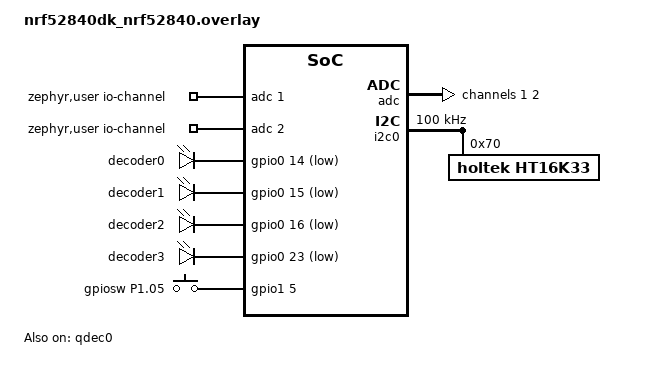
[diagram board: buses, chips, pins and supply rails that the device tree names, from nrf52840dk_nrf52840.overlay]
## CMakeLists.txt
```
cmake_minimum_required(VERSION 3.20.0)
find_package(Zephyr REQUIRED HINTS $ENV{ZEPHYR_BASE})

project(snake)

FILE(GLOB app_sources src/*.c)
target_sources(app PRIVATE ${app_sources})
```

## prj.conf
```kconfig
CONFIG_PWM=y
CONFIG_GPIO=y
CONFIG_ADC=y
# CONFIG_ADC_ASYNC=y
CONFIG_SENSOR=y
CONFIG_PRINTK=y
CONFIG_LOG=y
CONFIG_I2C=y
CONFIG_LED=y
CONFIG_KSCAN=y
CONFIG_KSCAN_INIT_PRIORITY=95
CONFIG_HT16K33_KEYSCAN=y

CONFIG_MAIN_STACK_SIZE=1024
CONFIG_SYSTEM_WORKQUEUE_STACK_SIZE=1024
CONFIG_THREAD_STACK_INFO=y
CONFIG_THREAD_NAME=y
```

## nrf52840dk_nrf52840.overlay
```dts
/ {
    aliases {
        dec0 = &decoder0;
        dec1 = &decoder1;
        dec2 = &decoder2;
        dec3 = &decoder3;
		gpio-sw = &gpiosw;
		qdec0 = &qdec0;
    };
	zephyr,user {
		io-channels = <&adc 1>, <&adc 2>;
	};
    seven_seg {
        compatible = "gpio-leds";
        decoder0: decoder_0{
            gpios = <&gpio0 14 GPIO_ACTIVE_LOW>;
        };
        decoder1: decoder_1{
            gpios = <&gpio0 15 GPIO_ACTIVE_LOW>;
        };
        decoder2: decoder_2{
            gpios = <&gpio0 16 GPIO_ACTIVE_LOW>;
        };
        decoder3: decoder_3{
            gpios = <&gpio0 23 GPIO_ACTIVE_LOW>;
        };
    };

	gpiocustom{
		status = "okay";
		compatible = "gpio-keys";
		gpiosw: gpiosw {
			gpios = <&gpio1 5 (GPIO_PULL_UP)>;
			label = "gpiosw P1.05";
		};
	};

};

&pinctrl {
	qdec_pinctrl: qdec_pinctrl {
		group1 {
			psels = <NRF_PSEL(QDEC_A, 1, 4)>,   /* Arduino D3 */
				<NRF_PSEL(QDEC_B, 1, 3)>;   /* Arduino D2 */
		};
	};
};

&qdec0 {
	status = "okay";
	pinctrl-0 = <&qdec_pinctrl>;
	pinctrl-names = "default";
	steps = < 20 >;
	led-pre = < 500 >;
};

&adc {
	#address-cells = <1>;
	#size-cells = <0>;

	channel@1 {
		reg = <1>;
		zephyr,gain = "ADC_GAIN_1";
		zephyr,reference = "ADC_REF_INTERNAL";
		zephyr,acquisition-time = <ADC_ACQ_TIME_DEFAULT>;
		zephyr,input-positive = <NRF_SAADC_AIN1>; /* P0.03 */
		zephyr,resolution = <10>;
		// zephyr,differential;
	};

	channel@2 {
		reg = <2>;
		zephyr,gain = "ADC_GAIN_1";
		zephyr,reference = "ADC_REF_INTERNAL";
		zephyr,acquisition-time = <ADC_ACQ_TIME_DEFAULT>;
		zephyr,input-positive = <NRF_SAADC_AIN2>; /* P0.04 */
		zephyr,resolution = <10>;
		// zephyr,differential;
	};
};


&i2c0 {
	clock-frequency = <I2C_BITRATE_STANDARD>;

	ht16k33@70 {
		compatible = "holtek,ht16k33";
		reg = <0x70>;
                /* Uncomment to use IRQ instead of polling: */
		/* irq-gpios = <&gpio1 8 (GPIO_PULL_UP | GPIO_ACTIVE_LOW)>; */

		keyscan {
			compatible = "holtek,ht16k33-keyscan";
		};
	};
};
```

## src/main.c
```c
/*
 * MIT License
 *
 * Copyright (c) 2024 Garyun Kim, Jinju Lee
 *
 * Permission is hereby granted, free of charge, to any person obtaining a copy
 * of this software and associated documentation files (the "Software"), to deal
 * in the Software without restriction, including without limitation the rights
 * to use, copy, modify, merge, publish, distribute, sublicense, and/or sell
 * copies of the Software, and to permit persons to whom the Software is
 * furnished to do so, subject to the following conditions:
 *
 * The above copyright notice and this permission notice shall be included in all
 * copies or substantial portions of the Software.
 *
 * THE SOFTWARE IS PROVIDED "AS IS", WITHOUT WARRANTY OF ANY KIND, EXPRESS OR
 * IMPLIED, INCLUDING BUT NOT LIMITED TO THE WARRANTIES OF MERCHANTABILITY,
 * FITNESS FOR A PARTICULAR PURPOSE AND NONINFRINGEMENT. IN NO EVENT SHALL THE
 * AUTHORS OR COPYRIGHT HOLDERS BE LIABLE FOR ANY CLAIM, DAMAGES OR OTHER
 * LIABILITY, WHETHER IN AN ACTION OF CONTRACT, TORT OR OTHERWISE, ARISING FROM,
 * OUT OF OR IN CONNECTION WITH THE SOFTWARE OR THE USE OR OTHER DEALINGS IN THE
 * SOFTWARE.
 */

#include <zephyr/kernel.h>
#include <inttypes.h>
#include <stddef.h>
#include <stdint.h>

#include <zephyr/drivers/sensor.h>
#include <zephyr/device.h>
#include <zephyr/devicetree.h>
#include <zephyr/drivers/adc.h>
#include <zephyr/kernel.h>
#include <zephyr/sys/printk.h>
#include <zephyr/sys/util.h>

#include "gpios.h"
#include "led.h"

#if !DT_NODE_EXISTS(DT_PATH(zephyr_user)) || \
	!DT_NODE_HAS_PROP(DT_PATH(zephyr_user), io_channels)
#error "No suitable devicetree overlay specified"
#endif

#define DT_SPEC_AND_COMMA(node_id, prop, idx) \
	ADC_DT_SPEC_GET_BY_IDX(node_id, idx),

/* Data of ADC io-channels specified in devicetree. */
static const struct adc_dt_spec adc_channels[] = {
	DT_FOREACH_PROP_ELEM(DT_PATH(zephyr_user), io_channels,
			     DT_SPEC_AND_COMMA)
};

// add for joystick
int32_t preX = 0 , perY = 0;
static const int ADC_MAX = 1023;
// static const int ADC_MIN = 0;
static const int AXIS_DEVIATION = ADC_MAX / 2;
int32_t nowX = 0;
int32_t nowY = 0;

//TODO sholud be replaced with Joystick event!
#define LEFT 0
#define RIGHT 1
#define UP 2
#define DOWN 3
//TODO ==============================================

// thread stack size
#define STACK_SIZE 1024

// thread priority
#define PRIORITY 7

// thread stack memory allocation
K_THREAD_STACK_DEFINE(thread_stack_area, STACK_SIZE);
struct k_thread my_thread_data;

K_THREAD_STACK_DEFINE(thread_stack_area2, STACK_SIZE);
struct k_thread my_thread_data2;
//map size setted by display size
#define MAP_WIDTH 16
#define MAP_HEIGHT 8
//for map state
// #define EMPTY 0
#define SNAKE 1
#define APPLE 2
//for game mode

//initial values
#define INIT_LENGTH 3
#define INIT_SPEED 200
//for BGM
#define NOTE_CNT 3

int map[MAP_HEIGHT*MAP_WIDTH]; //whole map state. 0: empty / 1: snake / 2: apple
int x[128], y[128]; //save the position of snake
int apple_x, apple_y; //save the position of apple
int length = INIT_LENGTH; //current length of snake. can be changed by scoring
int speed = INIT_SPEED; //current speed of game. can be changed by rotary encoder event
extern int speed_delta;
int dir = LEFT; //current direction of snake. can be changed by joystick event

//for game logic
int idx(int x, int y);
void move(int dir); 
void create_apple(); 
//for button interrupt
void play_routine();  
void score_routine();
bool isChange(void);
void sensing();

int mode = SCORE;
int pause_flag = 0;
int mute_flag = 0;
extern int apple_on;
extern int current_music;
extern int* melody[];
extern int melody_len[];
extern const struct device *const dev;
int change_note_flag= 0;

// ========INTERRUPT FUNCS============================


//change BGM
void btn4_pushed(){
//    note_type = (note_type+1)%NOTE_CNT; 
   change_note_flag = 1;
}

//TODO change speed
void rotary_encoder_moved(){
    int s = /*value*/ 100;
    if(s < 0) speed = 1000; //minimum speed
    if(s > 99999 /*borderline*/) speed = 10; //maximum speed 
}

//=======================================================

void play_music_routine(){
    uint32_t now_pwm_pulse = 150000;
    current_music = 2;
    seven_segment(current_music);
    while(1){
        change_note_flag = 0;
        for(int i=0; i<melody_len[current_music]/sizeof(int); ){
            while(mute_flag == 1){
                k_sleep(K_MSEC(100));
            }
            if(change_note_flag == 1){
                current_music = (current_music+1)%6;
                if(current_music < 2) current_music = 2;
                seven_segment(current_music);
                break;
            }
            int ret = pwm_set_dt(&pwm_led, (uint32_t)(1/(float)melody[current_music][i++] * 1000000000), now_pwm_pulse);
            if(ret < 0){
            printk("Error setting pwm pulse %d\n", ret);
            }
            int delay = (60000 * 32);
            if(melody[current_music][i] < 0){
                k_busy_wait(delay /(-1 * melody[current_music][i++])* 1.5);
            }
            else{
                k_busy_wait(delay / melody[current_music][i++]);
            }
            ret = pwm_set_dt(&pwm_led, 1, 1);
            k_busy_wait(1000);
            // printk("index:%d\n",i/2);
        }
    }
    
    return;
}

// play the snake game
void play_routine(){
    mode = PLAY;
    printk("i am play routine\n");

    //init map state
    for(int i = 0; i < MAP_WIDTH*MAP_HEIGHT; i++) map[i] = 0;

    //reset values
    dir = LEFT; 
    length = INIT_LENGTH;  

    //set initial body position
    for(int i = 0; i < length; i++){  
        x[i]=MAP_WIDTH/2+i;
        y[i]=MAP_HEIGHT/2;
        map[idx(x[i], y[i])] = 1;
    }map[idx(x[0], y[0])] = 1;

    //create new apple
    create_apple();

    //start playing
    while(1){

        if(pause_flag == 0) move(dir); 
        k_sleep(K_MSEC(speed));

        if(mode == SCORE) break;

    }//while
    score_routine();
}

//display the last score
void score_routine(){  
    mode = SCORE;
    printk("i am score routine\n");
    led_num(length-INIT_LENGTH);
    while(1){
        // printk("Hello hello\n");
        k_sleep(K_MSEC(100));
        if(mode == PLAY) break; 
    }
    play_routine();
    // k_sleep(K_MSEC(5000));
    // btn1_pushed();
    //TODO ===================================================
}

//move using dir 
void move(int dir){
    int i;

    //eat apple case
    if(x[0] == apple_x && y[0] == apple_y){  
        create_apple();  
        length++;  
        x[length-1] = x[length-2];  
        y[length-1] = y[length-2];
    }
    //blocked by wall case
    if(x[0] == 0 || x[0] == MAP_WIDTH-1 || y[0]==0 || y[0] == MAP_HEIGHT-1){  
        score_routine();
        return;  
    }
    //blocked by body case
    for(i = 1; i < length; i++){  
        if(x[0] == x[i] && y[0] == y[i]){
            score_routine();
            return;
        }
    }

    //erase last tail
    map[idx(x[length-1], y[length-1])] = 0;
    for(i = length-1; i > 0; i--){  
        x[i] = x[i-1];
        y[i] = y[i-1];
    }
    //draw new snake
    map[idx(x[0], y[0])] = 1;
    if(dir == LEFT) --x[0];  
    if(dir == RIGHT) ++x[0];
    if(dir == UP) --y[0]; 
    if(dir == DOWN) ++y[0];     
    map[idx(x[i], y[i])] = 1;
    print_map(map); 

}

//create new apple
void create_apple(){
    int i;
    int dup_flag =0; 

    while(1){            
        //select next apple place
        apple_x = (rand() % (MAP_WIDTH-2)) + 1;     
        apple_y = (rand() % (MAP_HEIGHT-2)) + 1;
        
        dup_flag = 0;    
        for(i = 0; i < length; i++){   
            if(apple_x == x[i] && apple_y == y[i]){
                dup_flag = 1;  
                break;
            }
        }
        if(dup_flag == 1) continue; 

        //draw apple DROP     
        map[idx(apple_x, apple_y)] = 2;
        break;
        
    }
}

//calculate index for map using 
int idx(int x, int y){ 
    return (( y * 16 ) + x); 
}


bool isChange(void)
{
	if((nowX < (preX - 50)) || nowX > (preX+50)){
		preX = nowX;
		return true;
	}

	if((nowY < (perY - 50)) || nowY > (perY+50)){
		perY = nowY;
		return true;
	}
	return false;
}
//endif
void sensing() {
	int err;
	uint32_t count = 0;
	uint16_t buf;
	struct adc_sequence sequence = {
		.buffer = &buf,
		/* buffer size in bytes, not number of samples */
		.buffer_size = sizeof(buf),
	};

	/* Configure channels individually prior to sampling. */
	for (size_t i = 0U; i < ARRAY_SIZE(adc_channels); i++) {
		if (!adc_is_ready_dt(&adc_channels[i])) {
			printk("ADC controller device %s not ready\n", adc_channels[i].dev->name);
			return;
		}
		err = adc_channel_setup_dt(&adc_channels[i]);
		if (err < 0) {
			printk("Could not setup channel #%d (%d)\n", i, err);
			return;
		}
	}

    struct sensor_value val;
	while (1) {
        int rc = sensor_sample_fetch(dev);
		if (rc != 0) {
			printk("Failed to fetch sample (%d)\n", rc);
			return 0;
		}

		rc = sensor_channel_get(dev, SENSOR_CHAN_ROTATION, &val);
		if (rc != 0) {
			printk("Failed to get data (%d)\n", rc);
			return 0;
		}
        if(val.val1 > 0){
            speed_delta -= 5; //speed 와 게임 속도가 반비례
        }
        else if(val.val1 < 0){
            speed_delta += 5;
        }
		(void)adc_sequence_init_dt(&adc_channels[0], &sequence);
		err = adc_read(adc_channels[0].dev, &sequence);
		if (err < 0) {
			printk("Could not read (%d)\n", err);
			continue;
		}
		nowX = (int32_t)buf;

		(void)adc_sequence_init_dt(&adc_channels[1], &sequence);
		err = adc_read(adc_channels[1].dev, &sequence);
		if (err < 0) {
			printk("Could not read (%d)\n", err);
			continue;
		}
		nowY = (int32_t)buf;

		if (nowX >= 65500 || nowY >= 65500){
			printk("Out of Range\n");
			k_sleep(K_MSEC(100));
			continue;
		}

		bool checkFlag = isChange();
		if(!checkFlag){
            // printk("No Change\n");
			k_sleep(K_MSEC(100));
			continue;
		} 
        // else {
		// 	led_off_all();
		// }
//  if((dir==LEFT&&key!=RIGHT)||(dir==RIGHT&&key!=LEFT)||(dir==UP&&key!=DOWN)||(dir==DOWN&&key!=UP)) dir=key; 
		if (nowX == ADC_MAX && nowY == ADC_MAX){
			// led_on_center();
			// printk("Center\n");
		} else if (nowX < AXIS_DEVIATION && nowY == ADC_MAX){
			// led_on_left();
			printk("Left\n");
            if(dir != RIGHT) dir = LEFT;
		} else if (nowX > AXIS_DEVIATION && nowY == ADC_MAX){
			// led_on_right();
			printk("Right\n");
            if(dir != LEFT) dir = RIGHT;
		} else if (nowY > AXIS_DEVIATION && nowX == ADC_MAX){
			// led_on_up();
			printk("Up\n");
            if(dir != DOWN) dir = UP;
		} else if (nowY < AXIS_DEVIATION && nowX == ADC_MAX){
			// led_on_down();
			printk("Down\n");
            if(dir != UP) dir = DOWN;
		}

		k_sleep(K_MSEC(100));
	}
	return;
}

int main(){
    pwm_init();
    decoder_init();
    rotary_init();
	led_init();
    led_set_brightness(led, 0, 0);
    speed = INIT_SPEED;  
    //TODO setting interrupts
    printk("hallo night\n");
    k_tid_t sensing_tid = k_thread_create(&my_thread_data, thread_stack_area,
                                     K_THREAD_STACK_SIZEOF(thread_stack_area),
                                     sensing, NULL, NULL, NULL,
                                     PRIORITY, 0, K_NO_WAIT);

    k_thread_name_set(sensing_tid, "joystick_thread");
    
    k_tid_t bgm_tid = k_thread_create(&my_thread_data2, thread_stack_area2,
                                     K_THREAD_STACK_SIZEOF(thread_stack_area2),
                                     play_music_routine, NULL, NULL, NULL,
                                     8, 0, K_NO_WAIT);

    k_thread_name_set(bgm_tid, "bgm_thread");

    score_routine();

    return 0;

}
```

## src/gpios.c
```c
/*
 * MIT License
 *
 * Copyright (c) 2024 Garyun Kim, Jinju Lee
 *
 * Permission is hereby granted, free of charge, to any person obtaining a copy
 * of this software and associated documentation files (the "Software"), to deal
 * in the Software without restriction, including without limitation the rights
 * to use, copy, modify, merge, publish, distribute, sublicense, and/or sell
 * copies of the Software, and to permit persons to whom the Software is
 * furnished to do so, subject to the following conditions:
 *
 * The above copyright notice and this permission notice shall be included in all
 * copies or substantial portions of the Software.
 *
 * THE SOFTWARE IS PROVIDED "AS IS", WITHOUT WARRANTY OF ANY KIND, EXPRESS OR
 * IMPLIED, INCLUDING BUT NOT LIMITED TO THE WARRANTIES OF MERCHANTABILITY,
 * FITNESS FOR A PARTICULAR PURPOSE AND NONINFRINGEMENT. IN NO EVENT SHALL THE
 * AUTHORS OR COPYRIGHT HOLDERS BE LIABLE FOR ANY CLAIM, DAMAGES OR OTHER
 * LIABILITY, WHETHER IN AN ACTION OF CONTRACT, TORT OR OTHERWISE, ARISING FROM,
 * OUT OF OR IN CONNECTION WITH THE SOFTWARE OR THE USE OR OTHER DEALINGS IN THE
 * SOFTWARE.
 */

#include "gpios.h"

int current_music = 0;
static struct gpio_callback button0_cb_data;
static struct gpio_callback button1_cb_data;
static struct gpio_callback button2_cb_data;
static struct gpio_callback button3_cb_data;
// static struct gpio_callback button3_cb_data;

#define REST   0.0
#define NOTE_C1		32.7032 
#define NOTE_CS1	34.6478 
#define NOTE_D1		36.7081 
#define NOTE_DS1	38.8909 
#define NOTE_E1		41.2034 
#define NOTE_F1		43.6535 
#define NOTE_FS1	46.2493
#define NOTE_G1		48.9994
#define NOTE_GS1	51.9130
#define NOTE_A1		55.0000
#define NOTE_AS1	58.2705
#define NOTE_B1		61.7354

#define NOTE_C2		(NOTE_C1*2)
#define NOTE_CS2	(NOTE_CS1*2)
#define NOTE_D2		(NOTE_D1*2)
#define NOTE_DS2	(NOTE_DS1*2)
#define NOTE_E2		(NOTE_E1*2)
#define NOTE_F2		(NOTE_F1*2)
#define NOTE_FS2	(NOTE_FS1*2)
#define NOTE_G2		(NOTE_G1*2)
#define NOTE_GS2	(NOTE_GS1*2)
#define NOTE_A2		(NOTE_A1*2)
#define NOTE_AS2	(NOTE_AS1*2)
#define NOTE_B2		(NOTE_B1*2)

#define NOTE_C3		(NOTE_C2*2)
#define NOTE_CS3	(NOTE_CS2*2)
#define NOTE_D3		(NOTE_D2*2)
#define NOTE_DS3	(NOTE_DS2*2)
#define NOTE_E3		(NOTE_E2*2)
#define NOTE_F3		(NOTE_F2*2)
#define NOTE_FS3	(NOTE_FS2*2)
#define NOTE_G3		(NOTE_G2*2)
#define NOTE_GS3	(NOTE_GS2*2)
#define NOTE_A3		(NOTE_A2*2)
#define NOTE_AS3	(NOTE_AS2*2)
#define NOTE_B3		(NOTE_B2*2)

#define NOTE_C4		(NOTE_C3*2)
#define NOTE_CS4	(NOTE_CS3*2)
#define NOTE_D4		(NOTE_D3*2)
#define NOTE_DS4	(NOTE_DS3*2)
#define NOTE_E4		(NOTE_E3*2)
#define NOTE_F4		(NOTE_F3*2)
#define NOTE_FS4	(NOTE_FS3*2)
#define NOTE_G4		(NOTE_G3*2)
#define NOTE_GS4	(NOTE_GS3*2)
#define NOTE_A4		(NOTE_A3*2)
#define NOTE_AS4	(NOTE_AS3*2)
#define NOTE_B4		(NOTE_B3*2)

#define NOTE_C5		(NOTE_C4*2)
#define NOTE_CS5	(NOTE_CS4*2)
#define NOTE_D5		(NOTE_D4*2)
#define NOTE_DS5	(NOTE_DS4*2)
#define NOTE_E5		(NOTE_E4*2)
#define NOTE_F5		(NOTE_F4*2)
#define NOTE_FS5	(NOTE_FS4*2)
#define NOTE_G5		(NOTE_G4*2)
#define NOTE_GS5	(NOTE_GS4*2)
#define NOTE_A5		(NOTE_A4*2)
#define NOTE_AS5	(NOTE_AS4*2)
#define NOTE_B5		(NOTE_B4*2)

#define NOTE_C6		(NOTE_C5*2)
#define NOTE_CS6	(NOTE_CS5*2)
#define NOTE_D6		(NOTE_D5*2)
#define NOTE_DS6	(NOTE_DS5*2)
#define NOTE_E6		(NOTE_E5*2)
#define NOTE_F6		(NOTE_F5*2)
#define NOTE_FS6	(NOTE_FS5*2)
#define NOTE_G6		(NOTE_G5*2)
#define NOTE_GS6	(NOTE_GS5*2)
#define NOTE_A6		(NOTE_A5*2)
#define NOTE_AS6	(NOTE_AS5*2)
#define NOTE_B6		(NOTE_B5*2)

#define NOTE_C7		(NOTE_C6*2)
#define NOTE_CS7	(NOTE_CS6*2)
#define NOTE_D7		(NOTE_D6*2)
#define NOTE_DS7	(NOTE_DS6*2)
#define NOTE_E7		(NOTE_E6*2)
#define NOTE_F7		(NOTE_F6*2)
#define NOTE_FS7	(NOTE_FS6*2)
#define NOTE_G7		(NOTE_G6*2)
#define NOTE_GS7	(NOTE_GS6*2)
#define NOTE_A7		(NOTE_A6*2)
#define NOTE_AS7	(NOTE_AS6*2)
#define NOTE_B7		(NOTE_B6*2)


int mario[] = {

  // Super Mario Bros theme
  // Score available at https://musescore.com/user/2123/scores/2145
  // Theme by Koji Kondo
  
  
  NOTE_E5,8, NOTE_E5,8, REST,8, NOTE_E5,8, REST,8, NOTE_C5,8, NOTE_E5,8, //1
  NOTE_G5,4, REST,4, NOTE_G4,8, REST,4, 
  NOTE_C5,-4, NOTE_G4,8, REST,4, NOTE_E4,-4, // 3
  NOTE_A4,4, NOTE_B4,4, NOTE_AS4,8, NOTE_A4,4,
  NOTE_G4,-8, NOTE_E5,-8, NOTE_G5,-8, NOTE_A5,4, NOTE_F5,8, NOTE_G5,8,
  REST,8, NOTE_E5,4,NOTE_C5,8, NOTE_D5,8, NOTE_B4,-4,
  NOTE_C5,-4, NOTE_G4,8, REST,4, NOTE_E4,-4, // repeats from 3
  NOTE_A4,4, NOTE_B4,4, NOTE_AS4,8, NOTE_A4,4,
  NOTE_G4,-8, NOTE_E5,-8, NOTE_G5,-8, NOTE_A5,4, NOTE_F5,8, NOTE_G5,8,
  REST,8, NOTE_E5,4,NOTE_C5,8, NOTE_D5,8, NOTE_B4,-4,

  
  REST,4, NOTE_G5,8, NOTE_FS5,8, NOTE_F5,8, NOTE_DS5,4, NOTE_E5,8,//7
  REST,8, NOTE_GS4,8, NOTE_A4,8, NOTE_C4,8, REST,8, NOTE_A4,8, NOTE_C5,8, NOTE_D5,8,
  REST,4, NOTE_DS5,4, REST,8, NOTE_D5,-4,
  NOTE_C5,2, REST,2,

  REST,4, NOTE_G5,8, NOTE_FS5,8, NOTE_F5,8, NOTE_DS5,4, NOTE_E5,8,//repeats from 7
  REST,8, NOTE_GS4,8, NOTE_A4,8, NOTE_C4,8, REST,8, NOTE_A4,8, NOTE_C5,8, NOTE_D5,8,
  REST,4, NOTE_DS5,4, REST,8, NOTE_D5,-4,
  NOTE_C5,2, REST,2,

  NOTE_C5,8, NOTE_C5,4, NOTE_C5,8, REST,8, NOTE_C5,8, NOTE_D5,4,//11
  NOTE_E5,8, NOTE_C5,4, NOTE_A4,8, NOTE_G4,2,

  NOTE_C5,8, NOTE_C5,4, NOTE_C5,8, REST,8, NOTE_C5,8, NOTE_D5,8, NOTE_E5,8,//13
  REST,1, 
  NOTE_C5,8, NOTE_C5,4, NOTE_C5,8, REST,8, NOTE_C5,8, NOTE_D5,4,
  NOTE_E5,8, NOTE_C5,4, NOTE_A4,8, NOTE_G4,2,
  NOTE_E5,8, NOTE_E5,8, REST,8, NOTE_E5,8, REST,8, NOTE_C5,8, NOTE_E5,4,
  NOTE_G5,4, REST,4, NOTE_G4,4, REST,4, 
  NOTE_C5,-4, NOTE_G4,8, REST,4, NOTE_E4,-4, // 19
  
  NOTE_A4,4, NOTE_B4,4, NOTE_AS4,8, NOTE_A4,4,
  NOTE_G4,-8, NOTE_E5,-8, NOTE_G5,-8, NOTE_A5,4, NOTE_F5,8, NOTE_G5,8,
  REST,8, NOTE_E5,4, NOTE_C5,8, NOTE_D5,8, NOTE_B4,-4,

  NOTE_C5,-4, NOTE_G4,8, REST,4, NOTE_E4,-4, // repeats from 19
  NOTE_A4,4, NOTE_B4,4, NOTE_AS4,8, NOTE_A4,4,
  NOTE_G4,-8, NOTE_E5,-8, NOTE_G5,-8, NOTE_A5,4, NOTE_F5,8, NOTE_G5,8,
  REST,8, NOTE_E5,4, NOTE_C5,8, NOTE_D5,8, NOTE_B4,-4,

  NOTE_E5,8, NOTE_C5,4, NOTE_G4,8, REST,4, NOTE_GS4,4,//23
  NOTE_A4,8, NOTE_F5,4, NOTE_F5,8, NOTE_A4,2,
  NOTE_D5,-8, NOTE_A5,-8, NOTE_A5,-8, NOTE_A5,-8, NOTE_G5,-8, NOTE_F5,-8,
  
  NOTE_E5,8, NOTE_C5,4, NOTE_A4,8, NOTE_G4,2, //26
  NOTE_E5,8, NOTE_C5,4, NOTE_G4,8, REST,4, NOTE_GS4,4,
  NOTE_A4,8, NOTE_F5,4, NOTE_F5,8, NOTE_A4,2,
  NOTE_B4,8, NOTE_F5,4, NOTE_F5,8, NOTE_F5,-8, NOTE_E5,-8, NOTE_D5,-8,
  NOTE_C5,8, NOTE_E4,4, NOTE_E4,8, NOTE_C4,2,

  NOTE_E5,8, NOTE_C5,4, NOTE_G4,8, REST,4, NOTE_GS4,4,//repeats from 23
  NOTE_A4,8, NOTE_F5,4, NOTE_F5,8, NOTE_A4,2,
  NOTE_D5,-8, NOTE_A5,-8, NOTE_A5,-8, NOTE_A5,-8, NOTE_G5,-8, NOTE_F5,-8,
  
  NOTE_E5,8, NOTE_C5,4, NOTE_A4,8, NOTE_G4,2, //26
  NOTE_E5,8, NOTE_C5,4, NOTE_G4,8, REST,4, NOTE_GS4,4,
  NOTE_A4,8, NOTE_F5,4, NOTE_F5,8, NOTE_A4,2,
  NOTE_B4,8, NOTE_F5,4, NOTE_F5,8, NOTE_F5,-8, NOTE_E5,-8, NOTE_D5,-8,
  NOTE_C5,8, NOTE_E4,4, NOTE_E4,8, NOTE_C4,2,
  NOTE_C5,8, NOTE_C5,4, NOTE_C5,8, REST,8, NOTE_C5,8, NOTE_D5,8, NOTE_E5,8,
  REST,1,

  NOTE_C5,8, NOTE_C5,4, NOTE_C5,8, REST,8, NOTE_C5,8, NOTE_D5,4, //33
  NOTE_E5,8, NOTE_C5,4, NOTE_A4,8, NOTE_G4,2,
  NOTE_E5,8, NOTE_E5,8, REST,8, NOTE_E5,8, REST,8, NOTE_C5,8, NOTE_E5,4,
  NOTE_G5,4, REST,4, NOTE_G4,4, REST,4, 
  NOTE_E5,8, NOTE_C5,4, NOTE_G4,8, REST,4, NOTE_GS4,4,
  NOTE_A4,8, NOTE_F5,4, NOTE_F5,8, NOTE_A4,2,
  NOTE_D5,-8, NOTE_A5,-8, NOTE_A5,-8, NOTE_A5,-8, NOTE_G5,-8, NOTE_F5,-8,
  
  NOTE_E5,8, NOTE_C5,4, NOTE_A4,8, NOTE_G4,2, //40
  NOTE_E5,8, NOTE_C5,4, NOTE_G4,8, REST,4, NOTE_GS4,4,
  NOTE_A4,8, NOTE_F5,4, NOTE_F5,8, NOTE_A4,2,
  NOTE_B4,8, NOTE_F5,4, NOTE_F5,8, NOTE_F5,-8, NOTE_E5,-8, NOTE_D5,-8,
  NOTE_C5,8, NOTE_E4,4, NOTE_E4,8, NOTE_C4,2,
  
  //game over sound
  NOTE_C5,-4, NOTE_G4,-4, NOTE_E4,4, //45
  NOTE_A4,-8, NOTE_B4,-8, NOTE_A4,-8, NOTE_GS4,-8, NOTE_AS4,-8, NOTE_GS4,-8,
  NOTE_G4,8, NOTE_D4,8, NOTE_E4,-2,  

};

int harry[] = {


  // Hedwig's theme fromn the Harry Potter Movies
  // Socre from https://musescore.com/user/3811306/scores/4906610
  
  REST, 2, NOTE_D4, 4,
  NOTE_G4, -4, NOTE_AS4, 8, NOTE_A4, 4,
  NOTE_G4, 2, NOTE_D5, 4,
  NOTE_C5, -2, 
  NOTE_A4, -2,
  NOTE_G4, -4, NOTE_AS4, 8, NOTE_A4, 4,
  NOTE_F4, 2, NOTE_GS4, 4,
  NOTE_D4, -1, 
  NOTE_D4, 4,

  NOTE_G4, -4, NOTE_AS4, 8, NOTE_A4, 4, //10
  NOTE_G4, 2, NOTE_D5, 4,
  NOTE_F5, 2, NOTE_E5, 4,
  NOTE_DS5, 2, NOTE_B4, 4,
  NOTE_DS5, -4, NOTE_D5, 8, NOTE_CS5, 4,
  NOTE_CS4, 2, NOTE_B4, 4,
  NOTE_G4, -1,
  NOTE_AS4, 4,
     
  NOTE_D5, 2, NOTE_AS4, 4,//18
  NOTE_D5, 2, NOTE_AS4, 4,
  NOTE_DS5, 2, NOTE_D5, 4,
  NOTE_CS5, 2, NOTE_A4, 4,
  NOTE_AS4, -4, NOTE_D5, 8, NOTE_CS5, 4,
  NOTE_CS4, 2, NOTE_D4, 4,
  NOTE_D5, -1, 
  REST,4, NOTE_AS4,4,  

  NOTE_D5, 2, NOTE_AS4, 4,//26
  NOTE_D5, 2, NOTE_AS4, 4,
  NOTE_F5, 2, NOTE_E5, 4,
  NOTE_DS5, 2, NOTE_B4, 4,
  NOTE_DS5, -4, NOTE_D5, 8, NOTE_CS5, 4,
  NOTE_CS4, 2, NOTE_AS4, 4,
  NOTE_G4, -1, 
  
};

int tetris[] = {

  //Based on the arrangement at https://www.flutetunes.com/tunes.php?id=192
  
  NOTE_E5, 4,  NOTE_B4,8,  NOTE_C5,8,  NOTE_D5,4,  NOTE_C5,8,  NOTE_B4,8,
  NOTE_A4, 4,  NOTE_A4,8,  NOTE_C5,8,  NOTE_E5,4,  NOTE_D5,8,  NOTE_C5,8,
  NOTE_B4, -4,  NOTE_C5,8,  NOTE_D5,4,  NOTE_E5,4,
  NOTE_C5, 4,  NOTE_A4,4,  NOTE_A4,8,  NOTE_A4,4,  NOTE_B4,8,  NOTE_C5,8,

  NOTE_D5, -4,  NOTE_F5,8,  NOTE_A5,4,  NOTE_G5,8,  NOTE_F5,8,
  NOTE_E5, -4,  NOTE_C5,8,  NOTE_E5,4,  NOTE_D5,8,  NOTE_C5,8,
  NOTE_B4, 4,  NOTE_B4,8,  NOTE_C5,8,  NOTE_D5,4,  NOTE_E5,4,
  NOTE_C5, 4,  NOTE_A4,4,  NOTE_A4,4, REST, 4,

  NOTE_E5, 4,  NOTE_B4,8,  NOTE_C5,8,  NOTE_D5,4,  NOTE_C5,8,  NOTE_B4,8,
  NOTE_A4, 4,  NOTE_A4,8,  NOTE_C5,8,  NOTE_E5,4,  NOTE_D5,8,  NOTE_C5,8,
  NOTE_B4, -4,  NOTE_C5,8,  NOTE_D5,4,  NOTE_E5,4,
  NOTE_C5, 4,  NOTE_A4,4,  NOTE_A4,8,  NOTE_A4,4,  NOTE_B4,8,  NOTE_C5,8,

  NOTE_D5, -4,  NOTE_F5,8,  NOTE_A5,4,  NOTE_G5,8,  NOTE_F5,8,
  NOTE_E5, -4,  NOTE_C5,8,  NOTE_E5,4,  NOTE_D5,8,  NOTE_C5,8,
  NOTE_B4, 4,  NOTE_B4,8,  NOTE_C5,8,  NOTE_D5,4,  NOTE_E5,4,
  NOTE_C5, 4,  NOTE_A4,4,  NOTE_A4,4, REST, 4,
  

  NOTE_E5,2,  NOTE_C5,2,
  NOTE_D5,2,   NOTE_B4,2,
  NOTE_C5,2,   NOTE_A4,2,
  NOTE_GS4,2,  NOTE_B4,4,  REST,8, 
  NOTE_E5,2,   NOTE_C5,2,
  NOTE_D5,2,   NOTE_B4,2,
  NOTE_C5,4,   NOTE_E5,4,  NOTE_A5,2,
  NOTE_GS5,2,

};

int panther[] = {

  // Pink Panther theme
  // Score available at https://musescore.com/benedictsong/the-pink-panther
  // Theme by Masato Nakamura, arranged by Teddy Mason

  REST,2, REST,4, REST,8, NOTE_DS4,8, 
  NOTE_E4,-4, REST,8, NOTE_FS4,8, NOTE_G4,-4, REST,8, NOTE_DS4,8,
  NOTE_E4,-8, NOTE_FS4,8,  NOTE_G4,-8, NOTE_C5,8, NOTE_B4,-8, NOTE_E4,8, NOTE_G4,-8, NOTE_B4,8,   
  NOTE_AS4,2, NOTE_A4,-16, NOTE_G4,-16, NOTE_E4,-16, NOTE_D4,-16, 
  NOTE_E4,2, REST,4, REST,8, NOTE_DS4,4,

  NOTE_E4,-4, REST,8, NOTE_FS4,8, NOTE_G4,-4, REST,8, NOTE_DS4,8,
  NOTE_E4,-8, NOTE_FS4,8,  NOTE_G4,-8, NOTE_C5,8, NOTE_B4,-8, NOTE_G4,8, NOTE_B4,-8, NOTE_E5,8,
  NOTE_DS5,1,   
  NOTE_D5,2, REST,4, REST,8, NOTE_DS4,8, 
  NOTE_E4,-4, REST,8, NOTE_FS4,8, NOTE_G4,-4, REST,8, NOTE_DS4,8,
  NOTE_E4,-8, NOTE_FS4,8,  NOTE_G4,-8, NOTE_C5,8, NOTE_B4,-8, NOTE_E4,8, NOTE_G4,-8, NOTE_B4,8,   
  
  NOTE_AS4,2, NOTE_A4,-16, NOTE_G4,-16, NOTE_E4,-16, NOTE_D4,-16, 
  NOTE_E4,-4, REST,4,
  REST,4, NOTE_E5,-8, NOTE_D5,8, NOTE_B4,-8, NOTE_A4,8, NOTE_G4,-8, NOTE_E4,-8,
  NOTE_AS4,16, NOTE_A4,-8, NOTE_AS4,16, NOTE_A4,-8, NOTE_AS4,16, NOTE_A4,-8, NOTE_AS4,16, NOTE_A4,-8,   
  NOTE_G4,-16, NOTE_E4,-16, NOTE_D4,-16, NOTE_E4,16, NOTE_E4,16, NOTE_E4,2,
 
};

int* melody[] = {
    NULL,
    NULL,
    mario,
    harry,
    tetris, 
    panther
};

int melody_len[] = {
    0,
    0,
    sizeof(mario),
    sizeof(harry),
    sizeof(tetris),
    sizeof(panther)
};

extern int mode;
extern int pause_flag;
extern int mute_flag;
extern int change_note_flag;

const struct device *const dev = DEVICE_DT_GET(DT_ALIAS(qdec0));
static uint32_t now_pwm_pulse = 1500000;
void button0_callback(const struct device *dev, struct gpio_callback *cb, uint32_t pins)
{
    printk("Button 0 pressed\n");
    if(mode == PLAY) mode = SCORE; 
    else if(mode == SCORE) {
        mode = PLAY;
        pause_flag = 0;
    }
}

void button1_callback(const struct device *dev, struct gpio_callback *cb, uint32_t pins)
{
    printk("Button 1 pressed\n");
    pause_flag = !pause_flag;

}

void button2_callback(const struct device *dev, struct gpio_callback *cb, uint32_t pins)
{
    printk("Button 2 pressed\n");
    mute_flag = !mute_flag;

    return;
}

void button3_callback(const struct device *dev, struct gpio_callback *cb, uint32_t pins)
{
    printk("Button 3 pressed\n");
    change_note_flag = 1;
}

int decoder_init(void){
    int err;
    err = gpio_is_ready_dt(&dec_input0);
    if (!err) {
            printk("Error gpio_is_ready_dt dec_input0 pin %d\n", err);
            return GPIO_FAIL;
    }
    err = gpio_pin_configure_dt(&dec_input0, GPIO_OUTPUT_ACTIVE | DT_GPIO_FLAGS(DEC0_NODE, gpios));
    if (err < 0) {
            printk("Error configuring dec_input0 pin %d\n", err);
            return GPIO_FAIL;
    }
    err = gpio_is_ready_dt(&dec_input1);
    if (!err) {
            printk("Error gpio_is_ready_dt dec_input1 pin %d\n", err);
            return GPIO_FAIL;
    }
    err = gpio_pin_configure_dt(&dec_input1, GPIO_OUTPUT_ACTIVE | DT_GPIO_FLAGS(DEC1_NODE, gpios));
    if (err < 0) {
            printk("Error configuring dec_input1 pin %d\n", err);
            return GPIO_FAIL;
    } 
    err = gpio_is_ready_dt(&dec_input2);
    if (!err) {
            printk("Error gpio_is_ready_dt dec_input2 pin %d\n", err);
            return GPIO_FAIL;
    }
    err = gpio_pin_configure_dt(&dec_input2, GPIO_OUTPUT_ACTIVE | DT_GPIO_FLAGS(DEC2_NODE, gpios));
    if (err < 0) {
            printk("Error configuring dec_input2 pin %d\n", err);
            return GPIO_FAIL;
    } 
    return 0;
}

void volatile seven_segment(int num){
    __asm (
        "CMP R0, #7\n\t" //if(num>7) return;
        "IT GT\n\t"
        "BGT end\n\t"
        "LDR R2, =0x50000000 + 0x504\n\t"
        "LSL R0, R0, #14\n\t"
        "STR R0, [R2]\n\t"
        "end:\n\t"
    );
}

int pwm_init(void) {
    int err = GPIO_FAIL;

    // Set butto0 interrupt
    printk("Setting button0 interrupt\n");
    err = gpio_is_ready_dt(&button0);
    if (!err) {
        printk("Error gpio_is_ready_dt led0 pin %d\n", err);
        return GPIO_FAIL;
    }
    err = gpio_pin_configure_dt(&button0, GPIO_INPUT | GPIO_PULL_UP);
    if (err < 0) {
        printk("Error configuring button0 pin %d\n", err);
        return GPIO_FAIL;
    }
    err = gpio_pin_interrupt_configure_dt(&button0, GPIO_INT_EDGE_TO_ACTIVE);
    if (err != 0) {
        printk("Error configuring interrupt on button0 pin %d\n", err);
        return GPIO_FAIL;
    }
    gpio_init_callback(&button0_cb_data, button0_callback, BIT(button0.pin));
    gpio_add_callback(button0.port, &button0_cb_data);

    // Set button1 interrupt
    printk("Setting button1 interrupt\n");
    err = gpio_is_ready_dt(&button1);
    if (!err) {
        printk("Error gpio_is_ready_dt led1 pin %d\n", err);
        return GPIO_FAIL;
    }
    err = gpio_pin_configure_dt(&button1, GPIO_INPUT | GPIO_PULL_UP);
    if (err < 0) {
        printk("Error configuring button1 pin %d\n", err);
        return GPIO_FAIL;
    }
    err = gpio_pin_interrupt_configure_dt(&button1, GPIO_INT_EDGE_TO_ACTIVE);
    if (err != 0) {
        printk("Error configuring interrupt on button1 pin %d\n", err);
        return GPIO_FAIL;
    }
    gpio_init_callback(&button1_cb_data, button1_callback, BIT(button1.pin));
    gpio_add_callback(button1.port, &button1_cb_data);

    // Set button2 interrupt
    printk("Setting button2 interrupt\n");
    err = gpio_is_ready_dt(&button2);
    if (!err) {
        printk("Error gpio_is_ready_dt led2 pin %d\n", err);
        return GPIO_FAIL;
    }
    err = gpio_pin_configure_dt(&button2, GPIO_INPUT | GPIO_PULL_UP);
    if (err < 0) {
        printk("Error configuring button2 pin %d\n", err);
        return GPIO_FAIL;
    }
    err = gpio_pin_interrupt_configure_dt(&button2, GPIO_INT_EDGE_TO_ACTIVE);
    if (err != 0) {
        printk("Error configuring interrupt on button2 pin %d\n", err);
        return GPIO_FAIL;
    }
    gpio_init_callback(&button2_cb_data, button2_callback, BIT(button2.pin));
    gpio_add_callback(button2.port, &button2_cb_data);

    // Set button3 interrupt
    printk("Setting button3 interrupt\n");
    err = gpio_is_ready_dt(&button3);
    if (!err) {
        printk("Error gpio_is_ready_dt led3 pin %d\n", err);
        return GPIO_FAIL;
    }
    err = gpio_pin_configure_dt(&button3, GPIO_INPUT | GPIO_PULL_UP);
    if (err < 0) {
        printk("Error configuring button3 pin %d\n", err);
        return GPIO_FAIL;
    }
    err = gpio_pin_interrupt_configure_dt(&button3, GPIO_INT_EDGE_TO_ACTIVE);
    if (err != 0) {
        printk("Error configuring interrupt on button3 pin %d\n", err);
        return GPIO_FAIL;
    }
    gpio_init_callback(&button3_cb_data, button3_callback, BIT(button3.pin));
    gpio_add_callback(button3.port, &button3_cb_data);

    // pwm_led0
    err = gpio_is_ready_dt(&pwm_led);
    if (!err) {
        printk("Error gpio_is_ready_dt pwm_led pin %d\n", err);
        return GPIO_FAIL;
    }
    pwm_set_dt(&pwm_led, 0, 0);
    return GPIO_OK;
}

extern int speed;
int speed_delta = 0;
void sw_callback(const struct device *dev, struct gpio_callback *cb, uint32_t pins)
{
	printk("SW pressed\n");
    if(speed + speed_delta < 0){
        speed = 0;
    }
    else{
        speed += speed_delta;
    }
    speed_delta = 0;
}

void rotary_init(){
    int rc;
	

	if (!device_is_ready(dev)) {
		printk("Qdec device is not ready\n");
		return;
	}
    if(!gpio_is_ready_dt(&sw)) {
		printk("SW GPIO is not ready\n");
		return;
	}

	int err = gpio_pin_configure_dt(&sw, GPIO_INPUT);
	if(err < 0){
		printk("Error configuring SW GPIO pin %d\n", err);
		return;
	}

	err = gpio_pin_interrupt_configure_dt(&sw, GPIO_INT_EDGE_RISING);
	if(err != 0){
		printk("Error configuring SW GPIO interrupt %d\n", err);
		return;
	}

	gpio_init_callback(&sw_cb_data, sw_callback, BIT(sw.pin));
	gpio_add_callback(sw.port, &sw_cb_data);
}
```

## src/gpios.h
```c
/*
 * MIT License
 *
 * Copyright (c) 2024 Garyun Kim, Jinju Lee
 *
 * Permission is hereby granted, free of charge, to any person obtaining a copy
 * of this software and associated documentation files (the "Software"), to deal
 * in the Software without restriction, including without limitation the rights
 * to use, copy, modify, merge, publish, distribute, sublicense, and/or sell
 * copies of the Software, and to permit persons to whom the Software is
 * furnished to do so, subject to the following conditions:
 *
 * The above copyright notice and this permission notice shall be included in all
 * copies or substantial portions of the Software.
 *
 * THE SOFTWARE IS PROVIDED "AS IS", WITHOUT WARRANTY OF ANY KIND, EXPRESS OR
 * IMPLIED, INCLUDING BUT NOT LIMITED TO THE WARRANTIES OF MERCHANTABILITY,
 * FITNESS FOR A PARTICULAR PURPOSE AND NONINFRINGEMENT. IN NO EVENT SHALL THE
 * AUTHORS OR COPYRIGHT HOLDERS BE LIABLE FOR ANY CLAIM, DAMAGES OR OTHER
 * LIABILITY, WHETHER IN AN ACTION OF CONTRACT, TORT OR OTHERWISE, ARISING FROM,
 * OUT OF OR IN CONNECTION WITH THE SOFTWARE OR THE USE OR OTHER DEALINGS IN THE
 * SOFTWARE.
 */

#include <zephyr/drivers/gpio.h>
#include <zephyr/drivers/pwm.h>
#include <zephyr/sys/printk.h>
#include <zephyr/kernel.h>

#define GPIO_FAIL -1
#define GPIO_OK    0

#define ir_rate PWM_HZ  (4)
#define FADE_DELAY_MS   10
#define FADE_DELAY      K_MSEC(FADE_DELAY_MS)
#define PWM_PULSE_RATE  100000

#define PLAY 0
#define SCORE 1
// pwm led
#define PWM_NODE    DT_ALIAS(pwm_led0)
#if !DT_NODE_HAS_STATUS(PWM_NODE, okay)
#error "Unsupported board: pwm_led0 devicetree alias is not defined"
#endif
static const struct pwm_dt_spec pwm_led = PWM_DT_SPEC_GET(DT_ALIAS(pwm_led0));


// seven segment
#define DEC0_NODE DT_ALIAS(dec0)
#if !DT_NODE_HAS_STATUS(DEC0_NODE, okay)
#error "Unsupported format"
#endif
static const struct gpio_dt_spec dec_input0 = GPIO_DT_SPEC_GET(DEC0_NODE, gpios);

#define DEC1_NODE DT_ALIAS(dec1)
#if !DT_NODE_HAS_STATUS(DEC1_NODE, okay)
#error "Unsupported format"
#endif
static const struct gpio_dt_spec dec_input1 = GPIO_DT_SPEC_GET(DEC1_NODE, gpios);

#define DEC2_NODE DT_ALIAS(dec2)
#if !DT_NODE_HAS_STATUS(DEC2_NODE, okay)
#error "Unsupported format"
#endif
static const struct gpio_dt_spec dec_input2 = GPIO_DT_SPEC_GET(DEC2_NODE, gpios);

#define DEC3_NODE DT_ALIAS(dec3)
#if !DT_NODE_HAS_STATUS(DEC3_NODE, okay)
#error "Unsupported format"
#endif
static const struct gpio_dt_spec dec_input3 = GPIO_DT_SPEC_GET(DEC3_NODE, gpios);

//rotary
#if !DT_NODE_EXISTS(DT_ALIAS(qdec0))
#error "Unsupported board: qdec0 devicetree alias is not defined"
#endif

#define SW_NODE DT_NODELABEL(gpiosw)
#if !DT_NODE_HAS_STATUS(SW_NODE, okay)
#error "Unsupported board: gpiosw devicetree alias is not defined or enabled"
#endif
static const struct gpio_dt_spec sw = GPIO_DT_SPEC_GET(SW_NODE, gpios);
static struct gpio_callback sw_cb_data;

// buttons
#define SW0_NODE	DT_ALIAS(sw0)
#if !DT_NODE_HAS_STATUS(SW0_NODE, okay)
#error "Unsupported board: sw0 devicetree alias is not defined"
#endif
static const struct gpio_dt_spec button0 = GPIO_DT_SPEC_GET(SW0_NODE, gpios);

#define SW1_NODE	DT_ALIAS(sw1)
#if !DT_NODE_HAS_STATUS(SW1_NODE, okay)
#error "Unsupported board: sw1 devicetree alias is not defined"
#endif
static const struct gpio_dt_spec button1 = GPIO_DT_SPEC_GET(SW1_NODE, gpios);

#define SW2_NODE	DT_ALIAS(sw2)
#if !DT_NODE_HAS_STATUS(SW2_NODE, okay)
#error "Unsupported board: sw2 devicetree alias is not defined"
#endif
static const struct gpio_dt_spec button2 = GPIO_DT_SPEC_GET(SW2_NODE, gpios);

#define SW3_NODE	DT_ALIAS(sw3)
#if !DT_NODE_HAS_STATUS(SW3_NODE, okay)
#error "Unsupported board: sw3 devicetree alias is not defined"
#endif
static const struct gpio_dt_spec button3 = GPIO_DT_SPEC_GET(SW3_NODE, gpios);

int pwm_init(void);
int decoder_init(void);
void volatile seven_segment(int);
void rotary_init(void);
```

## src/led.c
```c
/*
 * MIT License
 *
 * Copyright (c) 2024 Garyun Kim, Jinju Lee
 *
 * Permission is hereby granted, free of charge, to any person obtaining a copy
 * of this software and associated documentation files (the "Software"), to deal
 * in the Software without restriction, including without limitation the rights
 * to use, copy, modify, merge, publish, distribute, sublicense, and/or sell
 * copies of the Software, and to permit persons to whom the Software is
 * furnished to do so, subject to the following conditions:
 *
 * The above copyright notice and this permission notice shall be included in all
 * copies or substantial portions of the Software.
 *
 * THE SOFTWARE IS PROVIDED "AS IS", WITHOUT WARRANTY OF ANY KIND, EXPRESS OR
 * IMPLIED, INCLUDING BUT NOT LIMITED TO THE WARRANTIES OF MERCHANTABILITY,
 * FITNESS FOR A PARTICULAR PURPOSE AND NONINFRINGEMENT. IN NO EVENT SHALL THE
 * AUTHORS OR COPYRIGHT HOLDERS BE LIABLE FOR ANY CLAIM, DAMAGES OR OTHER
 * LIABILITY, WHETHER IN AN ACTION OF CONTRACT, TORT OR OTHERWISE, ARISING FROM,
 * OUT OF OR IN CONNECTION WITH THE SOFTWARE OR THE USE OR OTHER DEALINGS IN THE
 * SOFTWARE.
 */

#include "led.h"
int apple_on = 0;

int number_led_matrix_arr [MAX_LED_MATRIX_IDX+1][MAX_LED_MATRIX_NUM+1]= {
    { // 0
        0,0,0,1,1,1,0,0,
        0,0,1,0,0,0,1,0,
        0,0,1,0,0,0,1,0,
        0,0,1,0,0,0,1,0,
        0,0,1,0,0,0,1,0,
        0,0,1,0,0,0,1,0,
        0,0,1,0,0,0,1,0,
        0,0,0,1,1,1,0,0
    },
    { // 1
        0,0,0,0,1,0,0,0,
        0,0,0,1,1,0,0,0,
        0,0,1,0,1,0,0,0,
        0,0,0,0,1,0,0,0,
        0,0,0,0,1,0,0,0,
        0,0,0,0,1,0,0,0,
        0,0,0,0,1,0,0,0,
        0,0,1,1,1,1,1,0
    },
    { // 2
        0,0,0,0,1,0,0,0,
        0,0,0,1,0,1,0,0,
        0,0,1,0,0,0,1,0,
        0,0,0,0,0,1,0,0,
        0,0,0,0,1,0,0,0,
        0,0,0,1,0,0,0,0,
        0,0,1,0,0,0,0,0,
        0,0,1,1,1,1,1,0
    },
    { // 3
        0,0,1,1,1,1,0,0,
        0,0,0,0,0,0,1,0,
        0,0,0,0,0,0,1,0,
        0,0,1,1,1,1,0,0,
        0,0,0,0,0,0,1,0,
        0,0,0,0,0,0,1,0,
        0,0,0,0,0,0,1,0,
        0,0,1,1,1,1,0,0
    },
    { // 4
        0,0,0,0,0,1,0,0,
        0,0,0,0,1,1,0,0,
        0,0,0,1,0,1,0,0,
        0,0,1,0,0,1,0,0,
        0,1,1,1,1,1,1,0,
        0,0,0,0,0,1,0,0,
        0,0,0,0,0,1,0,0,
        0,0,0,0,0,1,0,0
    },
    { // 5
        0,0,1,1,1,1,1,0,
        0,0,1,0,0,0,0,0,
        0,0,1,0,0,0,0,0,
        0,0,1,1,1,1,0,0,
        0,0,0,0,0,0,1,0,
        0,0,0,0,0,0,1,0,
        0,0,1,0,0,0,1,0,
        0,0,0,1,1,1,0,0
    },
    { // 6
        0,0,0,1,1,1,0,0,
        0,0,1,0,0,0,0,0,
        0,0,1,0,0,0,0,0,
        0,0,1,1,1,1,0,0,
        0,0,1,0,0,0,1,0,
        0,0,1,0,0,0,1,0,
        0,0,1,0,0,0,1,0,
        0,0,0,1,1,1,0,0
    },
    { // 7
        0,0,1,1,1,1,1,0,
        0,0,1,0,0,0,1,0,
        0,0,1,0,0,0,1,0,
        0,0,1,0,0,0,1,0,
        0,0,0,0,0,0,1,0,
        0,0,0,0,0,0,1,0,
        0,0,0,0,0,0,1,0,
        0,0,0,0,0,0,1,0
    },
    { // 8
        0,0,0,1,1,1,0,0,
        0,0,1,0,0,0,1,0,
        0,0,1,0,0,0,1,0,
        0,0,0,1,1,1,0,0,
        0,0,1,0,0,0,1,0,
        0,0,1,0,0,0,1,0,
        0,0,1,0,0,0,1,0,
        0,0,0,1,1,1,0,0
    },
    { // 9
        0,0,0,1,1,1,0,0,
        0,0,1,0,0,0,1,0,
        0,0,1,0,0,0,1,0,
        0,0,1,0,0,0,1,0,
        0,0,0,1,1,1,1,0,
        0,0,0,0,0,0,1,0,
        0,0,0,0,0,0,1,0,
        0,0,0,0,0,0,1,0
    }
};

void led_num(int seconds)
{
    int tens = seconds / 10;
    int units = seconds % 10;

    int num_arr_idx = 0;

    for(int i = 0; i < MAX_LED_NUM; i+=16){
        for(int j = i; j < (i+8); j++){
            if(number_led_matrix_arr[tens][num_arr_idx] == 1){
                // printk("[tens] led_on: j:[%d] num_array_idx[%d]\n", j, num_arr_idx);
                led_on(led, j);
            } else {
                led_off(led, j);
            }

            num_arr_idx++;
        }
    }

    num_arr_idx = 0;

    for(int i = 0; i < MAX_LED_NUM; i+=16){
        for(int j = (i+8); j < (i+16); j++){
            if(number_led_matrix_arr[units][num_arr_idx] == 1){
                // printk("[units] led_on: j:[%d] num_array_idx[%d]\n", j, num_arr_idx);
                led_on(led, j);
            } else {
                led_off(led, j);
            }
            num_arr_idx++;
        }
    }

}

int led_init(void)
{
    if(!device_is_ready(led)){
        printk("LED device %s is not ready\n", led->name);
    }

    return 0;
}

void led_off_all(void)
{
    for(int i = 0; i< MAX_LED_NUM; i++){
        led_off(led, i);
    }
}
// void led_on_idx(int idx)
// {
//     led_off_all();

//     int _ledpoint = 16 * (7 - idx);

//     for(int i = MAX_LED_NUM; i >= 0; i--){
//         if(_ledpoint <= i)
//             led_on(led, i);
//         else
//             led_off(led, i);
//     }
// }
//print current map state on display
void print_map(int* map){
    led_off_all();
    for(int i = 0; i < MAX_LED_NUM; i++){
        if(map[i] == 1) led_on(led, i);
        if(map[i] == 2 && apple_on == 1) {
            led_on(led, i);
            apple_on = 0;
        }
        else if(map[i] == 2 && apple_on == 0){
            apple_on = 1;
        }
    }
}

// * * * * * * * * * * * * * * * *  0 ~ 15
// * * * * * * * * * * * * * * * * 16 ~ 31
// * * * * * * x x x x * * * * * * 32 ~ 47 (38 ~ 41)
// * * * * * * x x x x * * * * * * 48 ~ 63 (54 ~ 57)
// * * * * * * x x x x * * * * * * 64 ~ 79 (70 ~ 73)
// * * * * * * x x x x * * * * * * 80 ~ 95 (86 ~ 89)
// * * * * * * * * * * * * * * * * 96 ~ 111
// * * * * * * * * * * * * * * * * 112 ~ 127

void led_on_center(void)
{
    // led_off_all();
    led_set_brightness(led, 0, 0);

    for(int i = 38; i < 95; i+=16){
        led_on(led, i);
        led_on(led, i+1);
        led_on(led, i+2);
        led_on(led, i+3);
    }

    k_sleep(K_MSEC(100));

    // led_on(led, 38); led_on(led, 39);led_on(led, 40); led_on(led, 41);
    // led_on(led, 54); led_on(led, 55); led_on(led, 56); led_on(led, 57);
    // led_on(led, 70); led_on(led, 71); led_on(led, 72); led_on(led, 73);
    // led_on(led, 86); led_on(led, 87); led_on(led, 88); led_on(led, 89);
}

// * * * * * * * * * * * * * * * *  0 ~ 15
// * * * * * * * * * * x * * * * * 16 ~ 31 (26)
// * * * * * * x x x x x x * * * * 32 ~ 47 (38 ~ 43)
// * * * * * * x x x x x x x x * * 48 ~ 63 (54 ~ 61)
// * * * * * * x x x x x x x x * * 64 ~ 79 (70 ~ 76)
// * * * * * * x x x x x x * * * * 80 ~ 95 (86 ~ 91)
// * * * * * * * * * * x * * * * * 96 ~ 111(106)
// * * * * * * * * * * * * * * * * 112 ~ 127

void led_on_right(void)
{
    // led_off_all();

    led_on(led, 26);
    led_on(led, 38); led_on(led, 39); led_on(led, 40); led_on(led, 41); led_on(led, 42); led_on(led, 43);
    led_on(led, 54); led_on(led, 55); led_on(led, 56); led_on(led, 57); led_on(led, 58); led_on(led, 59); led_on(led, 60); led_on(led, 61);
    led_on(led, 70); led_on(led, 71); led_on(led, 72); led_on(led, 73); led_on(led, 74); led_on(led, 75); led_on(led, 76); led_on(led, 77);
    led_on(led, 86); led_on(led, 87); led_on(led, 88); led_on(led, 89); led_on(led, 90); led_on(led, 91);
    led_on(led, 106);

    k_sleep(K_MSEC(100));
}


// * * * * * * * * * * * * * * * *  0 ~ 15
// * * * * * x * * * * * * * * * * 16 ~ 31 (21)
// * * * * x x x x x x * * * * * * 32 ~ 47 (36 ~ 41)
// * * x x x x x x x x * * * * * * 48 ~ 63 (50 ~ 57)
// * * x x x x x x x x * * * * * * 64 ~ 79 (66 ~ 73)
// * * * * x x x x x x * * * * * * 80 ~ 95 (84 ~ 89)
// * * * * * x * * * * * * * * * * 96 ~ 111 (101)
// * * * * * * * * * * * * * * * * 112 ~ 127

void led_on_left(void)
{
    // led_off_all();

    led_on(led, 21);
    led_on(led, 36); led_on(led, 37); led_on(led, 38); led_on(led, 39); led_on(led, 40); led_on(led, 41);
    led_on(led, 50); led_on(led, 51); led_on(led, 52); led_on(led, 53); led_on(led, 54); led_on(led, 55); led_on(led, 56); led_on(led, 57);
    led_on(led, 66); led_on(led, 67); led_on(led, 68); led_on(led, 69); led_on(led, 70); led_on(led, 71); led_on(led, 72); led_on(led, 73);
    led_on(led, 84); led_on(led, 85); led_on(led, 86); led_on(led, 87); led_on(led, 88); led_on(led, 89);
    led_on(led, 101);

    k_sleep(K_MSEC(100));
}


// * * * * * * * * * * * * * * * *  0 ~ 15
// * * * * * * * x x * * * * * * * 16 ~ 31 (23 ~ 24)
// * * * * * x x x x x x * * * * * 32 ~ 47 (37 ~ 42)
// * * * * x x x x x x x x * * * * 48 ~ 63 (52 ~ 59)
// * * * * * * x x x x * * * * * * 64 ~ 79 (70 ~ 73)
// * * * * * * x x x x * * * * * * 80 ~ 95 (86 ~ 89)
// * * * * * * * * * * * * * * * * 96 ~ 111
// * * * * * * * * * * * * * * * * 112 ~ 127

void led_on_up(void)
{
    // led_off_all();

    led_on(led, 23); led_on(led, 24);
    led_on(led, 37); led_on(led, 38); led_on(led, 39); led_on(led, 40); led_on(led, 41); led_on(led, 42);
    led_on(led, 52); led_on(led, 53); led_on(led, 54); led_on(led, 55); led_on(led, 56); led_on(led, 57); led_on(led, 58); led_on(led, 59);
    led_on(led, 70); led_on(led, 71); led_on(led, 72); led_on(led, 73);
    led_on(led, 86); led_on(led, 87); led_on(led, 88); led_on(led, 89);

    k_sleep(K_MSEC(100));
}

// * * * * * * * * * * * * * * * *  0 ~ 15
// * * * * * * * * * * * * * * * * 16 ~ 31
// * * * * * * x x x x * * * * * * 32 ~ 47 (38 ~ 41)
// * * * * * * x x x x * * * * * * 48 ~ 63 (54 ~ 57)
// * * * * x x x x x x x x * * * * 64 ~ 79 (68 ~ 75)
// * * * * * x x x x x x * * * * * 80 ~ 95 (85 ~ 90)
// * * * * * * * x x * * * * * * * 96 ~ 111(103 ~ 104)
// * * * * * * * * * * * * * * * * 112 ~ 127

void led_on_down(void)
{
    // led_off_all();

    led_on(led, 38); led_on(led, 39); led_on(led, 40); led_on(led, 41);
    led_on(led, 54); led_on(led, 55); led_on(led, 56); led_on(led, 57);
    led_on(led, 68); led_on(led, 69); led_on(led, 70); led_on(led, 71); led_on(led, 72); led_on(led, 73); led_on(led, 74); led_on(led, 75);
    led_on(led, 85); led_on(led, 86); led_on(led, 87); led_on(led, 88); led_on(led, 89); led_on(led, 90);
    led_on(led, 103); led_on(led, 104);

    k_sleep(K_MSEC(100));

}
```

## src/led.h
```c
/*
 * MIT License
 *
 * Copyright (c) 2024 Garyun Kim, Jinju Lee
 *
 * Permission is hereby granted, free of charge, to any person obtaining a copy
 * of this software and associated documentation files (the "Software"), to deal
 * in the Software without restriction, including without limitation the rights
 * to use, copy, modify, merge, publish, distribute, sublicense, and/or sell
 * copies of the Software, and to permit persons to whom the Software is
 * furnished to do so, subject to the following conditions:
 *
 * The above copyright notice and this permission notice shall be included in all
 * copies or substantial portions of the Software.
 *
 * THE SOFTWARE IS PROVIDED "AS IS", WITHOUT WARRANTY OF ANY KIND, EXPRESS OR
 * IMPLIED, INCLUDING BUT NOT LIMITED TO THE WARRANTIES OF MERCHANTABILITY,
 * FITNESS FOR A PARTICULAR PURPOSE AND NONINFRINGEMENT. IN NO EVENT SHALL THE
 * AUTHORS OR COPYRIGHT HOLDERS BE LIABLE FOR ANY CLAIM, DAMAGES OR OTHER
 * LIABILITY, WHETHER IN AN ACTION OF CONTRACT, TORT OR OTHERWISE, ARISING FROM,
 * OUT OF OR IN CONNECTION WITH THE SOFTWARE OR THE USE OR OTHER DEALINGS IN THE
 * SOFTWARE.
 */

#include <zephyr/drivers/led.h>
#include <zephyr/drivers/kscan.h>
#include <zephyr/devicetree.h>
#include <zephyr/kernel.h>

#define LED_NODE DT_COMPAT_GET_ANY_STATUS_OKAY(holtek_ht16k33)
#define KEY_NODE DT_CHILD(LED_NODE, keyscan)

#define MAX_LED_NUM 128
#define MAX_LED_MATRIX_IDX 10
#define MAX_LED_MATRIX_NUM 64

static const struct device *const led = DEVICE_DT_GET(LED_NODE);

int led_init(void);

void print_map(int*);
void led_off_all(void);
void led_on_center(void);
void led_on_right(void);
void led_on_left(void);
void led_on_up(void);
void led_on_down(void);
```
